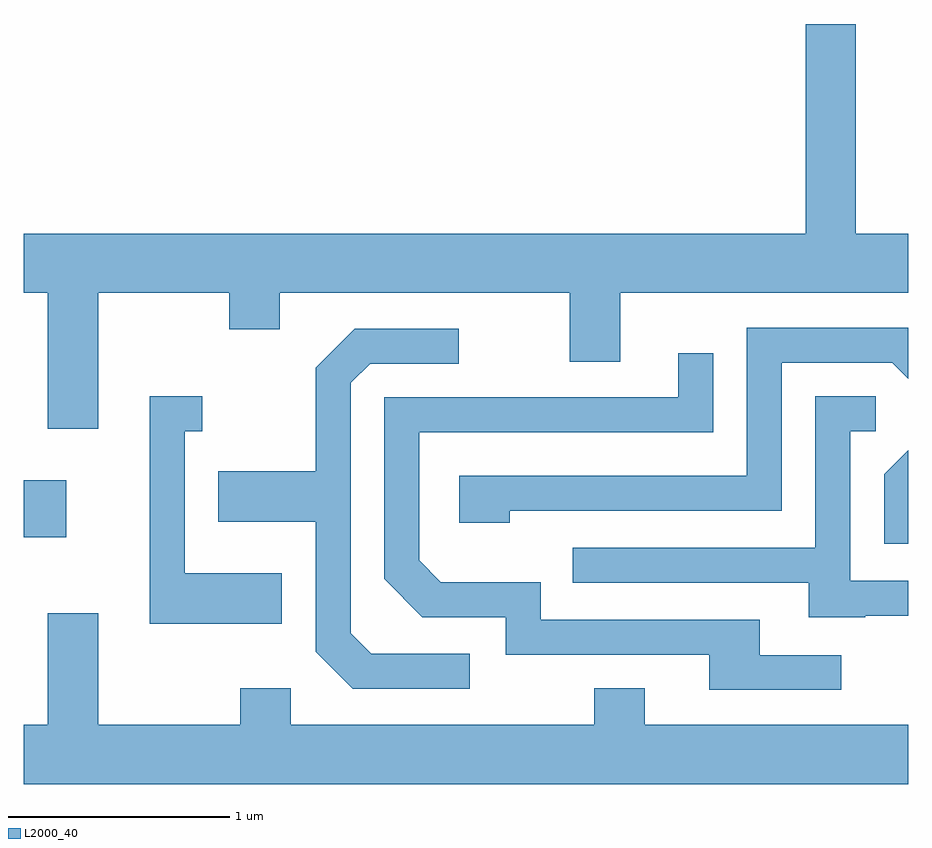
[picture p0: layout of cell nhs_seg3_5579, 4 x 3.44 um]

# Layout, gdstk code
import gdstk
lib = gdstk.Library(unit=1e-6, precision=1e-09)
def R(c, l, rs):  # rectangles x0, y0, x1, y1
    for r in rs: c.add(gdstk.rectangle(r[:2], r[2:], *l))
def P(c, l, *ps):  # polygons
    for p in ps: c.add(gdstk.Polygon(p, *l))
L2000_40 = (2000, 40)

nhs_seg3_5579 = lib.new_cell('nhs_seg3_5579')
R(nhs_seg3_5579, L2000_40, [(349.611,1131.571,349.804,1131.829)])
P(nhs_seg3_5579, L2000_40, [(349.949,1132.676),(350.541,1132.676),(350.541,1132.511),(350.769,1132.511),(350.769,1132.676),(352.081,1132.676),(352.081,1132.366),(352.309,1132.366),(352.309,1132.676),(353.611,1132.676),(353.611,1132.944),(353.374,1132.944),(353.374,1133.892),(353.146,1133.892),(353.146,1132.944),(349.611,1132.944),(349.611,1132.676),(349.721,1132.676),(349.721,1132.061),(349.949,1132.061)],
  [(351.809,1131.691),(353.039,1131.691),(353.039,1132.361),(353.539,1132.361),(353.611,1132.289),(353.611,1132.519),(352.881,1132.519),(352.881,1131.849),(351.581,1131.849),(351.581,1131.636),(351.809,1131.636)],
  [(351.628,1131.044),(351.182,1131.044),(351.089,1131.137),(351.089,1132.269),(351.177,1132.356),(351.578,1132.356),(351.578,1132.514),(351.109,1132.514),(350.931,1132.337),(350.931,1131.869),(350.491,1131.869),(350.491,1131.641),(350.931,1131.641),(350.931,1131.054),(351.099,1130.886),(351.628,1130.886)],
  [(353.308,1131.039),(352.939,1131.039),(352.939,1131.199),(351.949,1131.199),(351.949,1131.369),(351.497,1131.369),(351.399,1131.467),(351.399,1132.046),(352.729,1132.046),(352.729,1132.403),(352.571,1132.403),(352.571,1132.204),(351.241,1132.204),(351.241,1131.384),(351.414,1131.211),(351.791,1131.211),(351.791,1131.041),(352.711,1131.041),(352.711,1130.881),(353.308,1130.881)],
  [(353.415,1131.216),(353.611,1131.216),(353.611,1131.374),(353.349,1131.374),(353.349,1132.051),(353.463,1132.051),(353.463,1132.209),(353.191,1132.209),(353.191,1131.524),(352.093,1131.524),(352.093,1131.366),(353.161,1131.366),(353.161,1131.211),(353.415,1131.211)],
  [(350.779,1131.409),(350.339,1131.409),(350.339,1132.051),(350.418,1132.051),(350.418,1132.209),(350.181,1132.209),(350.181,1131.181),(350.779,1131.181)],
  [(353.611,1131.966),(353.501,1131.857),(353.501,1131.543),(353.611,1131.543)],
  [(353.611,1130.724),(352.419,1130.724),(352.419,1130.889),(352.191,1130.889),(352.191,1130.724),(350.819,1130.724),(350.819,1130.889),(350.591,1130.889),(350.591,1130.724),(349.949,1130.724),(349.949,1131.229),(349.721,1131.229),(349.721,1130.724),(349.611,1130.724),(349.611,1130.456),(353.611,1130.456)])

lib.write_gds('nhs_seg3_5579.gds')
